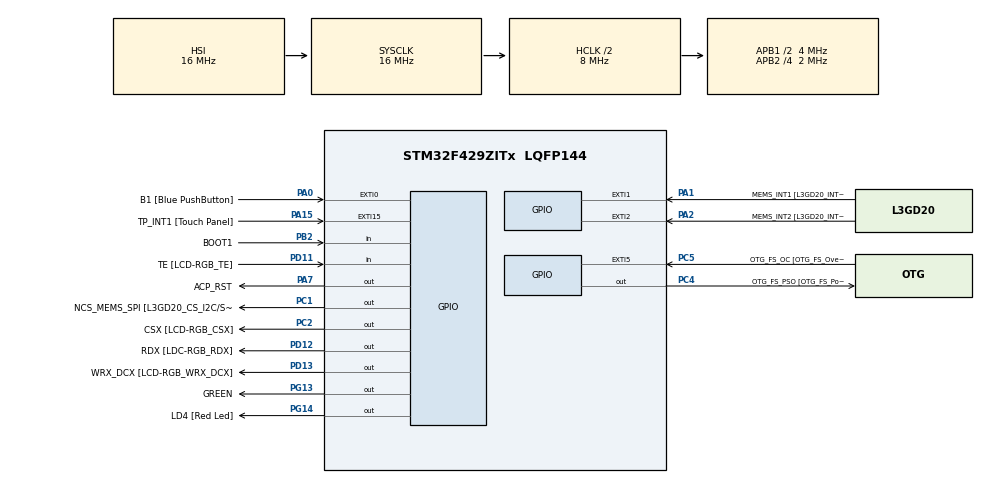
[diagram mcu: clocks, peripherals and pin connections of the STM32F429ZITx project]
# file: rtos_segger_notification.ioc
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Mcu.Family=STM32F4
Mcu.Name=STM32F429ZITx
Mcu.Package=LQFP144
NVIC.PriorityGroup=NVIC_PRIORITYGROUP_0
NVIC.TIM6_DAC_IRQn=true\:0\:0\:false\:false\:true\:false\:true\:true
NVIC.TimeBase=TIM6_DAC_IRQn
NVIC.TimeBaseIP=TIM6
PA0/WKUP.GPIO_Label=B1 [Blue PushButton]
PA0/WKUP.GPIO_ModeDefaultEXTI=GPIO_MODE_EVT_RISING
PA0/WKUP.GPIO_PuPd=GPIO_NOPULL
PA0/WKUP.Signal=GPXTI0
PA1.GPIO_Label=MEMS_INT1 [L3GD20_INT1]
PA1.GPIO_ModeDefaultEXTI=GPIO_MODE_EVT_RISING
PA1.GPIO_PuPd=GPIO_NOPULL
PA1.Signal=GPXTI1
PA10.GPIO_Label=STLINK_TX [STM32F103CBT6_PA2]
PA10.Signal=USART1_RX
PA11.GPIO_Label=R4
PA11.GPIO_Mode=GPIO_MODE_AF_PP
PA11.GPIO_PuPd=GPIO_NOPULL
PA11.GPIO_Speed=GPIO_SPEED_FREQ_LOW
PA11.Signal=LTDC_R4
PA12.GPIO_Label=R5
PA12.GPIO_Mode=GPIO_MODE_AF_PP
PA12.GPIO_PuPd=GPIO_NOPULL
PA12.GPIO_Speed=GPIO_SPEED_FREQ_LOW
PA12.Signal=LTDC_R5
PA13.GPIO_Label=SWDIO
PA13.Signal=SYS_JTMS-SWDIO
PA14.GPIO_Label=SWCLK
PA14.Signal=SYS_JTCK-SWCLK
PA15.GPIO_Label=TP_INT1 [Touch Panel]
PA15.GPIO_ModeDefaultEXTI=GPIO_MODE_EVT_RISING
PA15.GPIO_PuPd=GPIO_NOPULL
PA15.Signal=GPXTI15
PA2.GPIO_Label=MEMS_INT2 [L3GD20_INT2]
PA2.GPIO_ModeDefaultEXTI=GPIO_MODE_EVT_RISING
PA2.GPIO_PuPd=GPIO_NOPULL
PA2.Signal=GPXTI2
PA3.GPIO_Label=B5
PA3.GPIO_Mode=GPIO_MODE_AF_PP
PA3.GPIO_PuPd=GPIO_NOPULL
PA3.GPIO_Speed=GPIO_SPEED_FREQ_LOW
PA3.Signal=LTDC_B5
PA4.GPIO_Label=VSYNC
PA4.GPIO_Mode=GPIO_MODE_AF_PP
PA4.GPIO_PuPd=GPIO_NOPULL
PA4.GPIO_Speed=GPIO_SPEED_FREQ_LOW
PA4.Signal=LTDC_VSYNC
PA6.GPIO_Label=G2
PA6.GPIO_Mode=GPIO_MODE_AF_PP
PA6.GPIO_PuPd=GPIO_NOPULL
PA6.GPIO_Speed=GPIO_SPEED_FREQ_LOW
PA6.Signal=LTDC_G2
PA7.GPIO_Label=ACP_RST
PA7.GPIO_Mode=GPIO_MODE_OUTPUT_PP
PA7.GPIO_PuPd=GPIO_NOPULL
PA7.GPIO_Speed=GPIO_SPEED_FREQ_LOW
PA7.Signal=GPIO_Output
PA8.GPIO_Label=I2C3_SCL [ACP/RF_SCL]
PA8.GPIO_Mode=GPIO_MODE_AF_OD
PA8.GPIO_PuPd=GPIO_NOPULL
PA8.GPIO_Speed=GPIO_SPEED_FREQ_LOW
PA8.Signal=I2C3_SCL
PA9.GPIO_Label=STLINK_RX [STM32F103CBT6_PA3]
PA9.Signal=USART1_TX
PB0.GPIO_Label=R3
PB0.GPIO_Mode=GPIO_MODE_AF_PP
PB0.GPIO_PuPd=GPIO_NOPULL
PB0.GPIO_Speed=GPIO_SPEED_FREQ_LOW
PB0.Signal=LTDC_R3
PB1.GPIO_Label=R6
PB1.GPIO_Mode=GPIO_MODE_AF_PP
PB1.GPIO_PuPd=GPIO_NOPULL
PB1.GPIO_Speed=GPIO_SPEED_FREQ_LOW
PB1.Signal=LTDC_R6
PB10.GPIO_Label=G4
PB10.GPIO_Mode=GPIO_MODE_AF_PP
PB10.GPIO_PuPd=GPIO_NOPULL
PB10.GPIO_Speed=GPIO_SPEED_FREQ_LOW
PB10.Signal=LTDC_G4
PB11.GPIO_Label=G5
PB11.GPIO_Mode=GPIO_MODE_AF_PP
PB11.GPIO_PuPd=GPIO_NOPULL
PB11.GPIO_Speed=GPIO_SPEED_FREQ_LOW
PB11.Signal=LTDC_G5
PB12.GPIO_Label=OTG_HS_ID
PB12.GPIO_Mode=GPIO_MODE_AF_PP
PB12.GPIO_PuPd=GPIO_NOPULL
PB12.GPIO_Speed=GPIO_SPEED_FREQ_LOW
PB12.Signal=USB_OTG_HS_ID
PB13.GPIO_Label=VBUS_HS
PB13.GPIO_Mode=GPIO_MODE_INPUT
PB13.GPIO_PuPd=GPIO_NOPULL
PB13.Signal=USB_OTG_HS_VBUS
PB14.GPIO_Label=OTG_HS_DM
PB14.GPIO_Mode=GPIO_MODE_AF_PP
PB14.GPIO_PuPd=GPIO_NOPULL
PB14.GPIO_Speed=GPIO_SPEED_FREQ_LOW
PB14.Signal=USB_OTG_HS_DM
PB15.GPIO_Label=OTG_HS_DP
PB15.GPIO_Mode=GPIO_MODE_AF_PP
PB15.GPIO_PuPd=GPIO_NOPULL
PB15.GPIO_Speed=GPIO_SPEED_FREQ_LOW
PB15.Signal=USB_OTG_HS_DP
PB2/BOOT1.GPIO_Label=BOOT1
PB2/BOOT1.GPIO_Mode=GPIO_MODE_INPUT
PB2/BOOT1.GPIO_PuPd=GPIO_NOPULL
PB2/BOOT1.Signal=GPIO_Input
PB5.GPIO_Label=SDCKE1
PB5.GPIO_Mode=GPIO_MODE_AF_PP
PB5.GPIO_PuPd=GPIO_NOPULL
PB5.GPIO_Speed=GPIO_SPEED_FREQ_VERY_HIGH
PB5.Signal=FMC_SDCKE1
PB6.GPIO_Label=SDNE1 [SDRAM_CS]
PB6.GPIO_Mode=GPIO_MODE_AF_PP
PB6.GPIO_PuPd=GPIO_NOPULL
PB6.GPIO_Speed=GPIO_SPEED_FREQ_VERY_HIGH
PB6.Signal=FMC_SDNE1
PB8.GPIO_Label=B6
PB8.GPIO_Mode=GPIO_MODE_AF_PP
PB8.GPIO_PuPd=GPIO_NOPULL
PB8.GPIO_Speed=GPIO_SPEED_FREQ_LOW
PB8.Signal=LTDC_B6
PB9.GPIO_Label=B7
PB9.GPIO_Mode=GPIO_MODE_AF_PP
PB9.GPIO_PuPd=GPIO_NOPULL
PB9.GPIO_Speed=GPIO_SPEED_FREQ_LOW
PB9.Signal=LTDC_B7
PC0.GPIO_Label=SDNWE
PC0.GPIO_Mode=GPIO_MODE_AF_PP
PC0.GPIO_PuPd=GPIO_NOPULL
PC0.GPIO_Speed=GPIO_SPEED_FREQ_VERY_HIGH
PC0.Signal=FMC_SDNWE
PC1.GPIO_Label=NCS_MEMS_SPI [L3GD20_CS_I2C/SPI]
PC1.GPIO_Mode=GPIO_MODE_OUTPUT_PP
PC1.GPIO_PuPd=GPIO_NOPULL
PC1.GPIO_Speed=GPIO_SPEED_FREQ_LOW
PC1.Signal=GPIO_Output
PC10.GPIO_Label=R2
PC10.GPIO_Mode=GPIO_MODE_AF_PP
PC10.GPIO_PuPd=GPIO_NOPULL
PC10.GPIO_Speed=GPIO_SPEED_FREQ_LOW
PC10.Signal=LTDC_R2
PC14/OSC32_IN.GPIO_Label=PC14-OSC32_IN
PC14/OSC32_IN.Signal=RCC_OSC32_IN
PC15/OSC32_OUT.GPIO_Label=PC15-OSC32_OUT
PC15/OSC32_OUT.Signal=RCC_OSC32_OUT
PC2.GPIO_Label=CSX [LCD-RGB_CSX]
PC2.GPIO_Mode=GPIO_MODE_OUTPUT_PP
PC2.GPIO_PuPd=GPIO_NOPULL
PC2.GPIO_Speed=GPIO_SPEED_FREQ_LOW
PC2.Signal=GPIO_Output
PC4.GPIO_Label=OTG_FS_PSO [OTG_FS_PowerSwitchOn]
PC4.GPIO_Mode=GPIO_MODE_OUTPUT_PP
PC4.GPIO_PuPd=GPIO_NOPULL
PC4.GPIO_Speed=GPIO_SPEED_FREQ_LOW
PC4.Signal=GPIO_Output
PC5.GPIO_Label=OTG_FS_OC [OTG_FS_OverCurrent]
PC5.GPIO_ModeDefaultEXTI=GPIO_MODE_EVT_RISING
PC5.Signal=GPXTI5
PC6.GPIO_Label=HSYNC
PC6.GPIO_Mode=GPIO_MODE_AF_PP
PC6.GPIO_PuPd=GPIO_NOPULL
PC6.GPIO_Speed=GPIO_SPEED_FREQ_LOW
PC6.Signal=LTDC_HSYNC
PC7.GPIO_Label=G6
PC7.GPIO_Mode=GPIO_MODE_AF_PP
PC7.GPIO_PuPd=GPIO_NOPULL
PC7.GPIO_Speed=GPIO_SPEED_FREQ_LOW
PC7.Signal=LTDC_G6
PC9.GPIO_Label=I2C3_SDA [ACP/RF_SDA]
PC9.GPIO_Mode=GPIO_MODE_AF_OD
PC9.GPIO_PuPd=GPIO_NOPULL
PC9.GPIO_Speed=GPIO_SPEED_FREQ_LOW
PC9.Signal=I2C3_SDA
PD0.GPIO_Label=D2
PD0.GPIO_Mode=GPIO_MODE_AF_PP
PD0.GPIO_PuPd=GPIO_NOPULL
PD0.GPIO_Speed=GPIO_SPEED_FREQ_VERY_HIGH
PD0.Signal=FMC_D2_DA2
PD1.GPIO_Label=D3
PD1.GPIO_Mode=GPIO_MODE_AF_PP
PD1.GPIO_PuPd=GPIO_NOPULL
PD1.GPIO_Speed=GPIO_SPEED_FREQ_VERY_HIGH
PD1.Signal=FMC_D3_DA3
PD10.GPIO_Label=D15
PD10.GPIO_Mode=GPIO_MODE_AF_PP
PD10.GPIO_PuPd=GPIO_NOPULL
PD10.GPIO_Speed=GPIO_SPEED_FREQ_VERY_HIGH
PD10.Signal=FMC_D15_DA15
PD11.GPIO_Label=TE [LCD-RGB_TE]
PD11.GPIO_Mode=GPIO_MODE_INPUT
PD11.GPIO_PuPd=GPIO_NOPULL
PD11.Signal=GPIO_Input
PD12.GPIO_Label=RDX [LDC-RGB_RDX]
PD12.GPIO_Mode=GPIO_MODE_OUTPUT_PP
PD12.GPIO_PuPd=GPIO_NOPULL
PD12.GPIO_Speed=GPIO_SPEED_FREQ_LOW
PD12.Signal=GPIO_Output
PD13.GPIO_Label=WRX_DCX [LCD-RGB_WRX_DCX]
PD13.GPIO_Mode=GPIO_MODE_OUTPUT_PP
PD13.GPIO_PuPd=GPIO_NOPULL
PD13.GPIO_Speed=GPIO_SPEED_FREQ_LOW
PD13.Signal=GPIO_Output
PD14.GPIO_Label=D0
PD14.GPIO_Mode=GPIO_MODE_AF_PP
PD14.GPIO_PuPd=GPIO_NOPULL
PD14.GPIO_Speed=GPIO_SPEED_FREQ_VERY_HIGH
PD14.Signal=FMC_D0_DA0
PD15.GPIO_Label=D1
PD15.GPIO_Mode=GPIO_MODE_AF_PP
PD15.GPIO_PuPd=GPIO_NOPULL
PD15.GPIO_Speed=GPIO_SPEED_FREQ_VERY_HIGH
PD15.Signal=FMC_D1_DA1
PD3.GPIO_Label=G7
PD3.GPIO_Mode=GPIO_MODE_AF_PP
PD3.GPIO_PuPd=GPIO_NOPULL
PD3.GPIO_Speed=GPIO_SPEED_FREQ_LOW
PD3.Signal=LTDC_G7
PD6.GPIO_Label=B2
PD6.GPIO_Mode=GPIO_MODE_AF_PP
PD6.GPIO_PuPd=GPIO_NOPULL
PD6.GPIO_Speed=GPIO_SPEED_FREQ_LOW
PD6.Signal=LTDC_B2
PD8.GPIO_Label=D13
PD8.GPIO_Mode=GPIO_MODE_AF_PP
PD8.GPIO_PuPd=GPIO_NOPULL
PD8.GPIO_Speed=GPIO_SPEED_FREQ_VERY_HIGH
PD8.Signal=FMC_D13_DA13
PD9.GPIO_Label=D14
PD9.GPIO_Mode=GPIO_MODE_AF_PP
PD9.GPIO_PuPd=GPIO_NOPULL
PD9.GPIO_Speed=GPIO_SPEED_FREQ_VERY_HIGH
PD9.Signal=FMC_D14_DA14
PE0.GPIO_Label=NBL0 [SDRAM_LDQM]
PE0.GPIO_Mode=GPIO_MODE_AF_PP
PE0.GPIO_PuPd=GPIO_NOPULL
PE0.GPIO_Speed=GPIO_SPEED_FREQ_VERY_HIGH
PE0.Signal=FMC_NBL0
PE1.GPIO_Label=NBL1 [SDRAM_UDQM]
PE1.GPIO_Mode=GPIO_MODE_AF_PP
PE1.GPIO_PuPd=GPIO_NOPULL
PE1.GPIO_Speed=GPIO_SPEED_FREQ_VERY_HIGH
PE1.Signal=FMC_NBL1
PE10.GPIO_Label=D7
PE10.GPIO_Mode=GPIO_MODE_AF_PP
PE10.GPIO_PuPd=GPIO_NOPULL
PE10.GPIO_Speed=GPIO_SPEED_FREQ_VERY_HIGH
PE10.Signal=FMC_D7_DA7
PE11.GPIO_Label=D8
PE11.GPIO_Mode=GPIO_MODE_AF_PP
PE11.GPIO_PuPd=GPIO_NOPULL
PE11.GPIO_Speed=GPIO_SPEED_FREQ_VERY_HIGH
PE11.Signal=FMC_D8_DA8
PE12.GPIO_Label=D9
PE12.GPIO_Mode=GPIO_MODE_AF_PP
PE12.GPIO_PuPd=GPIO_NOPULL
PE12.GPIO_Speed=GPIO_SPEED_FREQ_VERY_HIGH
PE12.Signal=FMC_D9_DA9
PE13.GPIO_Label=D10
PE13.GPIO_Mode=GPIO_MODE_AF_PP
PE13.GPIO_PuPd=GPIO_NOPULL
PE13.GPIO_Speed=GPIO_SPEED_FREQ_VERY_HIGH
PE13.Signal=FMC_D10_DA10
PE14.GPIO_Label=D11
PE14.GPIO_Mode=GPIO_MODE_AF_PP
PE14.GPIO_PuPd=GPIO_NOPULL
PE14.GPIO_Speed=GPIO_SPEED_FREQ_VERY_HIGH
PE14.Signal=FMC_D11_DA11
PE15.GPIO_Label=D12
PE15.GPIO_Mode=GPIO_MODE_AF_PP
PE15.GPIO_PuPd=GPIO_NOPULL
PE15.GPIO_Speed=GPIO_SPEED_FREQ_VERY_HIGH
PE15.Signal=FMC_D12_DA12
PE7.GPIO_Label=D4
PE7.GPIO_Mode=GPIO_MODE_AF_PP
PE7.GPIO_PuPd=GPIO_NOPULL
PE7.GPIO_Speed=GPIO_SPEED_FREQ_VERY_HIGH
PE7.Signal=FMC_D4_DA4
PE8.GPIO_Label=D5
PE8.GPIO_Mode=GPIO_MODE_AF_PP
PE8.GPIO_PuPd=GPIO_NOPULL
PE8.GPIO_Speed=GPIO_SPEED_FREQ_VERY_HIGH
PE8.Signal=FMC_D5_DA5
PE9.GPIO_Label=D6
PE9.GPIO_Mode=GPIO_MODE_AF_PP
PE9.GPIO_PuPd=GPIO_NOPULL
PE9.GPIO_Speed=GPIO_SPEED_FREQ_VERY_HIGH
PE9.Signal=FMC_D6_DA6
PF0.GPIO_Label=A0
PF0.GPIO_Mode=GPIO_MODE_AF_PP
PF0.GPIO_PuPd=GPIO_NOPULL
PF0.GPIO_Speed=GPIO_SPEED_FREQ_VERY_HIGH
PF0.Signal=FMC_A0
PF1.GPIO_Label=A1
PF1.GPIO_Mode=GPIO_MODE_AF_PP
PF1.GPIO_PuPd=GPIO_NOPULL
PF1.GPIO_Speed=GPIO_SPEED_FREQ_VERY_HIGH
PF1.Signal=FMC_A1
PF10.GPIO_Label=ENABLE [LCD-RGB_ENABLE]
PF10.GPIO_Mode=GPIO_MODE_AF_PP
PF10.GPIO_PuPd=GPIO_NOPULL
PF10.GPIO_Speed=GPIO_SPEED_FREQ_LOW
PF10.Signal=LTDC_DE
PF11.GPIO_Label=SDNRAS
PF11.GPIO_Mode=GPIO_MODE_AF_PP
PF11.GPIO_PuPd=GPIO_NOPULL
PF11.GPIO_Speed=GPIO_SPEED_FREQ_VERY_HIGH
PF11.Signal=FMC_SDNRAS
PF12.GPIO_Label=A6
PF12.GPIO_Mode=GPIO_MODE_AF_PP
PF12.GPIO_PuPd=GPIO_NOPULL
PF12.GPIO_Speed=GPIO_SPEED_FREQ_VERY_HIGH
PF12.Signal=FMC_A6
PF13.GPIO_Label=A7
PF13.GPIO_Mode=GPIO_MODE_AF_PP
PF13.GPIO_PuPd=GPIO_NOPULL
PF13.GPIO_Speed=GPIO_SPEED_FREQ_VERY_HIGH
PF13.Signal=FMC_A7
PF14.GPIO_Label=A8
PF14.GPIO_Mode=GPIO_MODE_AF_PP
PF14.GPIO_PuPd=GPIO_NOPULL
PF14.GPIO_Speed=GPIO_SPEED_FREQ_VERY_HIGH
PF14.Signal=FMC_A8
PF15.GPIO_Label=A9
PF15.GPIO_Mode=GPIO_MODE_AF_PP
PF15.GPIO_PuPd=GPIO_NOPULL
PF15.GPIO_Speed=GPIO_SPEED_FREQ_VERY_HIGH
PF15.Signal=FMC_A9
PF2.GPIO_Label=A2
PF2.GPIO_Mode=GPIO_MODE_AF_PP
PF2.GPIO_PuPd=GPIO_NOPULL
PF2.GPIO_Speed=GPIO_SPEED_FREQ_VERY_HIGH
PF2.Signal=FMC_A2
PF3.GPIO_Label=A3
PF3.GPIO_Mode=GPIO_MODE_AF_PP
PF3.GPIO_PuPd=GPIO_NOPULL
PF3.GPIO_Speed=GPIO_SPEED_FREQ_VERY_HIGH
PF3.Signal=FMC_A3
PF4.GPIO_Label=A4
PF4.GPIO_Mode=GPIO_MODE_AF_PP
PF4.GPIO_PuPd=GPIO_NOPULL
PF4.GPIO_Speed=GPIO_SPEED_FREQ_VERY_HIGH
PF4.Signal=FMC_A4
PF5.GPIO_Label=A5
PF5.GPIO_Mode=GPIO_MODE_AF_PP
PF5.GPIO_PuPd=GPIO_NOPULL
PF5.GPIO_Speed=GPIO_SPEED_FREQ_VERY_HIGH
PF5.Signal=FMC_A5
PF7.GPIO_Label=SPI5_SCK [L3GD20_SCL/SPC]
PF7.GPIO_Mode=GPIO_MODE_AF_PP
PF7.GPIO_PuPd=GPIO_NOPULL
PF7.GPIO_Speed=GPIO_SPEED_FREQ_LOW
PF7.Signal=SPI5_SCK
PF8.GPIO_Label=SPI5_MISO [L3GD20_SDO]
PF8.GPIO_Mode=GPIO_MODE_AF_PP
PF8.GPIO_PuPd=GPIO_NOPULL
PF8.GPIO_Speed=GPIO_SPEED_FREQ_LOW
PF8.Signal=SPI5_MISO
PF9.GPIO_Label=SPI5_MOSI [L3GD20_SDA/SDI/SDO]
PF9.GPIO_Mode=GPIO_MODE_AF_PP
PF9.GPIO_PuPd=GPIO_NOPULL
PF9.GPIO_Speed=GPIO_SPEED_FREQ_LOW
PF9.Signal=SPI5_MOSI
PG0.GPIO_Label=A10
PG0.GPIO_Mode=GPIO_MODE_AF_PP
PG0.GPIO_PuPd=GPIO_NOPULL
PG0.GPIO_Speed=GPIO_SPEED_FREQ_VERY_HIGH
PG0.Signal=FMC_A10
PG1.GPIO_Label=A11
PG1.GPIO_Mode=GPIO_MODE_AF_PP
PG1.GPIO_PuPd=GPIO_NOPULL
PG1.GPIO_Speed=GPIO_SPEED_FREQ_VERY_HIGH
PG1.Signal=FMC_A11
PG10.GPIO_Label=G3
PG10.GPIO_Mode=GPIO_MODE_AF_PP
PG10.GPIO_PuPd=GPIO_NOPULL
PG10.GPIO_Speed=GPIO_SPEED_FREQ_LOW
PG10.Signal=LTDC_G3
PG11.GPIO_Label=B3
PG11.GPIO_Mode=GPIO_MODE_AF_PP
PG11.GPIO_PuPd=GPIO_NOPULL
PG11.GPIO_Speed=GPIO_SPEED_FREQ_LOW
PG11.Signal=LTDC_B3
PG12.GPIO_Label=B4
PG12.GPIO_Mode=GPIO_MODE_AF_PP
PG12.GPIO_PuPd=GPIO_NOPULL
PG12.GPIO_Speed=GPIO_SPEED_FREQ_LOW
PG12.Signal=LTDC_B4
PG13.GPIO_Label=GREEN
PG13.Signal=GPIO_Output
PG14.GPIO_Label=LD4 [Red Led]
PG14.GPIO_Mode=GPIO_MODE_OUTPUT_PP
PG14.GPIO_PuPd=GPIO_NOPULL
PG14.GPIO_Speed=GPIO_SPEED_FREQ_LOW
PG14.Signal=GPIO_Output
PG15.GPIO_Label=SDNCAS
PG15.GPIO_Mode=GPIO_MODE_AF_PP
PG15.GPIO_PuPd=GPIO_NOPULL
PG15.GPIO_Speed=GPIO_SPEED_FREQ_VERY_HIGH
PG15.Signal=FMC_SDNCAS
PG4.GPIO_Label=BA0
PG4.GPIO_Mode=GPIO_MODE_AF_PP
PG4.GPIO_PuPd=GPIO_NOPULL
PG4.GPIO_Speed=GPIO_SPEED_FREQ_VERY_HIGH
PG4.Signal=FMC_A14_BA0
PG5.GPIO_Label=BA1
PG5.GPIO_Mode=GPIO_MODE_AF_PP
PG5.GPIO_PuPd=GPIO_NOPULL
PG5.GPIO_Speed=GPIO_SPEED_FREQ_VERY_HIGH
PG5.Signal=FMC_A15_BA1
PG6.GPIO_Label=R7
PG6.GPIO_Mode=GPIO_MODE_AF_PP
PG6.GPIO_PuPd=GPIO_NOPULL
PG6.GPIO_Speed=GPIO_SPEED_FREQ_LOW
PG6.Signal=LTDC_R7
PG7.GPIO_Label=DOTCLK [LCT-RGB_DOTCLK]
PG7.GPIO_Mode=GPIO_MODE_AF_PP
PG7.GPIO_PuPd=GPIO_NOPULL
PG7.GPIO_Speed=GPIO_SPEED_FREQ_LOW
PG7.Signal=LTDC_CLK
PG8.GPIO_Label=SDCLK
PG8.GPIO_Mode=GPIO_MODE_AF_PP
PG8.GPIO_PuPd=GPIO_NOPULL
PG8.GPIO_Speed=GPIO_SPEED_FREQ_VERY_HIGH
PG8.Signal=FMC_SDCLK
PH0/OSC_IN.GPIO_Label=PH0-OSC_IN
PH0/OSC_IN.Signal=RCC_OSC_IN
PH1/OSC_OUT.GPIO_Label=PH1-OSC_OUT
PH1/OSC_OUT.Signal=RCC_OSC_OUT
ProjectManager.HeapSize=0x200
ProjectManager.StackSize=0x400
ProjectManager.TargetToolchain=STM32CubeIDE
RCC.48MHZClocksFreq_Value=18285714.285714287
RCC.AHBCLKDivider=RCC_SYSCLK_DIV2
RCC.AHBFreq_Value=8000000
RCC.APB1CLKDivider=RCC_HCLK_DIV2
RCC.APB1Freq_Value=4000000
RCC.APB1TimFreq_Value=8000000
RCC.APB2CLKDivider=RCC_HCLK_DIV4
RCC.APB2Freq_Value=2000000
RCC.APB2TimFreq_Value=4000000
RCC.CortexFreq_Value=8000000
RCC.HCLKFreq_Value=8000000
RCC.HSE_VALUE=8000000
RCC.HSI_VALUE=16000000
RCC.LSE_VALUE=32768
RCC.PLLM=8
RCC.PLLN=64
RCC.PLLQ=7
RCC.SYSCLKFreq_VALUE=16000000
RCC.VCOOutputFreq_Value=128000000
SH.FMC_A0.0=FMC_A0
SH.FMC_A1.0=FMC_A1
SH.FMC_A10.0=FMC_A10
SH.FMC_A11.0=FMC_A11
SH.FMC_A14_BA0.0=FMC_BA0
SH.FMC_A15_BA1.0=FMC_BA1
SH.FMC_A2.0=FMC_A2
SH.FMC_A3.0=FMC_A3
SH.FMC_A4.0=FMC_A4
SH.FMC_A5.0=FMC_A5
SH.FMC_A6.0=FMC_A6
SH.FMC_A7.0=FMC_A7
SH.FMC_A8.0=FMC_A8
SH.FMC_A9.0=FMC_A9
SH.FMC_D0_DA0.0=FMC_D0
SH.FMC_D10_DA10.0=FMC_D10
SH.FMC_D11_DA11.0=FMC_D11
SH.FMC_D12_DA12.0=FMC_D12
SH.FMC_D13_DA13.0=FMC_D13
SH.FMC_D14_DA14.0=FMC_D14
SH.FMC_D15_DA15.0=FMC_D15
SH.FMC_D1_DA1.0=FMC_D1
SH.FMC_D2_DA2.0=FMC_D2
SH.FMC_D3_DA3.0=FMC_D3
SH.FMC_D4_DA4.0=FMC_D4
SH.FMC_D5_DA5.0=FMC_D5
SH.FMC_D6_DA6.0=FMC_D6
SH.FMC_D7_DA7.0=FMC_D7
SH.FMC_D8_DA8.0=FMC_D8
SH.FMC_D9_DA9.0=FMC_D9
SH.FMC_NBL0.0=FMC_NBL0
SH.FMC_NBL1.0=FMC_NBL1
SH.FMC_SDCLK.0=FMC_SDCLK
SH.FMC_SDNCAS.0=FMC_SDNCAS
SH.FMC_SDNRAS.0=FMC_SDNRAS
SH.FMC_SDNWE.0=FMC_SDNWE
VP_SYS_VS_tim6.Mode=TIM6
board=STM32F429I-DISC1

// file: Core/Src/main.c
/* USER CODE BEGIN Header */
/**
  ******************************************************************************
  * @file           : main.c
  * @brief          : Main program body
  ******************************************************************************
  * @attention
  *
  * Copyright (c) 2025 STMicroelectronics.
  * All rights reserved.
  *
  * This software is licensed under terms that can be found in the LICENSE file
  * in the root directory of this software component.
  * If no LICENSE file comes with this software, it is provided AS-IS.
  *
  ******************************************************************************
  */
/* USER CODE END Header */
#include "main.h"

/* USER CODE BEGIN Includes */
#include "FreeRTOS.h"
#include "FreeRTOSConfig.h"
#include "task.h"
#include "SEGGER_SYSVIEW.h"
/* USER CODE END Includes */

void SystemClock_Config(void);
static void MX_GPIO_Init(void);

/* USER CODE BEGIN 0 */
void task1_fun(void* pt);
void task2_fun(void* pt);
void initPA0_as_input(void);

TaskHandle_t tas1Handle;
TaskHandle_t tas2Handle;
/* USER CODE END 0 */

int main(void)
{

  /* MCU Configuration--------------------------------------------------------*/

  /* Reset of all peripherals, Initializes the Flash interface and the Systick. */
  HAL_Init();

  /* Configure the system clock */
  SystemClock_Config();

  /* Initialize all configured peripherals */
  MX_GPIO_Init();
  /* USER CODE BEGIN 2 */
  HAL_GPIO_WritePin(GPIOG, GREEN_Pin, GPIO_PIN_SET);

  NVIC_SetPriorityGrouping( 0 );

  initPA0_as_input();

  SEGGER_SYSVIEW_Conf();
  vSetVaru1MaxPRIGROUPValue();
  SEGGER_SYSVIEW_Start();

  xTaskCreate(task1_fun,"task1",configMINIMAL_STACK_SIZE,(void*)0,2,(TaskHandle_t * const)&tas1Handle);
  xTaskCreate(task2_fun,"task2",configMINIMAL_STACK_SIZE,(void*)0,2,(TaskHandle_t * const)&tas2Handle);

  vTaskStartScheduler();
  /* USER CODE END 2 */

  /* Infinite loop */
  while (1)
  {

  }
}

void SystemClock_Config(void)
{
  RCC_OscInitTypeDef RCC_OscInitStruct = {0};
  RCC_ClkInitTypeDef RCC_ClkInitStruct = {0};

  /** Configure the main internal regulator output voltage
  */
  __HAL_RCC_PWR_CLK_ENABLE();
  __HAL_PWR_VOLTAGESCALING_CONFIG(PWR_REGULATOR_VOLTAGE_SCALE3);

  /** Initializes the RCC Oscillators according to the specified parameters
  * in the RCC_OscInitTypeDef structure.
  */
  RCC_OscInitStruct.OscillatorType = RCC_OSCILLATORTYPE_HSI;
  RCC_OscInitStruct.HSIState = RCC_HSI_ON;
  RCC_OscInitStruct.HSICalibrationValue = RCC_HSICALIBRATION_DEFAULT;
  RCC_OscInitStruct.PLL.PLLState = RCC_PLL_NONE;
  if (HAL_RCC_OscConfig(&RCC_OscInitStruct) != HAL_OK)
  {
    Error_Handler();
  }

  /** Initializes the CPU, AHB and APB buses clocks
  */
  RCC_ClkInitStruct.ClockType = RCC_CLOCKTYPE_HCLK|RCC_CLOCKTYPE_SYSCLK
                              |RCC_CLOCKTYPE_PCLK1|RCC_CLOCKTYPE_PCLK2;
  RCC_ClkInitStruct.SYSCLKSource = RCC_SYSCLKSOURCE_HSI;
  RCC_ClkInitStruct.AHBCLKDivider = RCC_SYSCLK_DIV2;
  RCC_ClkInitStruct.APB1CLKDivider = RCC_HCLK_DIV2;
  RCC_ClkInitStruct.APB2CLKDivider = RCC_HCLK_DIV4;

  if (HAL_RCC_ClockConfig(&RCC_ClkInitStruct, FLASH_LATENCY_0) != HAL_OK)
  {
    Error_Handler();
  }
}

static void MX_GPIO_Init(void)
{
  GPIO_InitTypeDef GPIO_InitStruct = {0};

  /* GPIO Ports Clock Enable */
  __HAL_RCC_GPIOC_CLK_ENABLE();
  __HAL_RCC_GPIOF_CLK_ENABLE();
  __HAL_RCC_GPIOH_CLK_ENABLE();
  __HAL_RCC_GPIOA_CLK_ENABLE();
  __HAL_RCC_GPIOB_CLK_ENABLE();
  __HAL_RCC_GPIOG_CLK_ENABLE();
  __HAL_RCC_GPIOE_CLK_ENABLE();
  __HAL_RCC_GPIOD_CLK_ENABLE();

  /*Configure GPIO pin Output Level */
  HAL_GPIO_WritePin(GPIOC, NCS_MEMS_SPI_Pin|CSX_Pin|OTG_FS_PSO_Pin, GPIO_PIN_RESET);

  /*Configure GPIO pin Output Level */
  HAL_GPIO_WritePin(ACP_RST_GPIO_Port, ACP_RST_Pin, GPIO_PIN_RESET);

  /*Configure GPIO pin Output Level */
  HAL_GPIO_WritePin(GPIOD, RDX_Pin|WRX_DCX_Pin, GPIO_PIN_RESET);

  /*Configure GPIO pin Output Level */
  HAL_GPIO_WritePin(GPIOG, GREEN_Pin|LD4_Pin, GPIO_PIN_RESET);

  /*Configure GPIO pins : A0_Pin A1_Pin A2_Pin A3_Pin
                           A4_Pin A5_Pin SDNRAS_Pin A6_Pin
                           A7_Pin A8_Pin A9_Pin */
  GPIO_InitStruct.Pin = A0_Pin|A1_Pin|A2_Pin|A3_Pin
                          |A4_Pin|A5_Pin|SDNRAS_Pin|A6_Pin
                          |A7_Pin|A8_Pin|A9_Pin;
  GPIO_InitStruct.Mode = GPIO_MODE_AF_PP;
  GPIO_InitStruct.Pull = GPIO_NOPULL;
  GPIO_InitStruct.Speed = GPIO_SPEED_FREQ_VERY_HIGH;
  GPIO_InitStruct.Alternate = GPIO_AF12_FMC;
  HAL_GPIO_Init(GPIOF, &GPIO_InitStruct);

  /*Configure GPIO pins : SPI5_SCK_Pin SPI5_MISO_Pin SPI5_MOSI_Pin */
  GPIO_InitStruct.Pin = SPI5_SCK_Pin|SPI5_MISO_Pin|SPI5_MOSI_Pin;
  GPIO_InitStruct.Mode = GPIO_MODE_AF_PP;
  GPIO_InitStruct.Pull = GPIO_NOPULL;
  GPIO_InitStruct.Speed = GPIO_SPEED_FREQ_LOW;
  GPIO_InitStruct.Alternate = GPIO_AF5_SPI5;
  HAL_GPIO_Init(GPIOF, &GPIO_InitStruct);

  /*Configure GPIO pin : ENABLE_Pin */
  GPIO_InitStruct.Pin = ENABLE_Pin;
  GPIO_InitStruct.Mode = GPIO_MODE_AF_PP;
  GPIO_InitStruct.Pull = GPIO_NOPULL;
  GPIO_InitStruct.Speed = GPIO_SPEED_FREQ_LOW;
  GPIO_InitStruct.Alternate = GPIO_AF14_LTDC;
  HAL_GPIO_Init(ENABLE_GPIO_Port, &GPIO_InitStruct);

  /*Configure GPIO pin : SDNWE_Pin */
  GPIO_InitStruct.Pin = SDNWE_Pin;
  GPIO_InitStruct.Mode = GPIO_MODE_AF_PP;
  GPIO_InitStruct.Pull = GPIO_NOPULL;
  GPIO_InitStruct.Speed = GPIO_SPEED_FREQ_VERY_HIGH;
  GPIO_InitStruct.Alternate = GPIO_AF12_FMC;
  HAL_GPIO_Init(SDNWE_GPIO_Port, &GPIO_InitStruct);

  /*Configure GPIO pins : NCS_MEMS_SPI_Pin CSX_Pin OTG_FS_PSO_Pin */
  GPIO_InitStruct.Pin = NCS_MEMS_SPI_Pin|CSX_Pin|OTG_FS_PSO_Pin;
  GPIO_InitStruct.Mode = GPIO_MODE_OUTPUT_PP;
  GPIO_InitStruct.Pull = GPIO_NOPULL;
  GPIO_InitStruct.Speed = GPIO_SPEED_FREQ_LOW;
  HAL_GPIO_Init(GPIOC, &GPIO_InitStruct);

  /*Configure GPIO pins : B1_Pin MEMS_INT1_Pin MEMS_INT2_Pin TP_INT1_Pin */
  GPIO_InitStruct.Pin = B1_Pin|MEMS_INT1_Pin|MEMS_INT2_Pin|TP_INT1_Pin;
  GPIO_InitStruct.Mode = GPIO_MODE_EVT_RISING;
  GPIO_InitStruct.Pull = GPIO_NOPULL;
  HAL_GPIO_Init(GPIOA, &GPIO_InitStruct);

  /*Configure GPIO pins : B5_Pin VSYNC_Pin G2_Pin R4_Pin
                           R5_Pin */
  GPIO_InitStruct.Pin = B5_Pin|VSYNC_Pin|G2_Pin|R4_Pin
                          |R5_Pin;
  GPIO_InitStruct.Mode = GPIO_MODE_AF_PP;
  GPIO_InitStruct.Pull = GPIO_NOPULL;
  GPIO_InitStruct.Speed = GPIO_SPEED_FREQ_LOW;
  GPIO_InitStruct.Alternate = GPIO_AF14_LTDC;
  HAL_GPIO_Init(GPIOA, &GPIO_InitStruct);

  /*Configure GPIO pin : ACP_RST_Pin */
  GPIO_InitStruct.Pin = ACP_RST_Pin;
  GPIO_InitStruct.Mode = GPIO_MODE_OUTPUT_PP;
  GPIO_InitStruct.Pull = GPIO_NOPULL;
  GPIO_InitStruct.Speed = GPIO_SPEED_FREQ_LOW;
  HAL_GPIO_Init(ACP_RST_GPIO_Port, &GPIO_InitStruct);

  /*Configure GPIO pin : OTG_FS_OC_Pin */
  GPIO_InitStruct.Pin = OTG_FS_OC_Pin;
  GPIO_InitStruct.Mode = GPIO_MODE_EVT_RISING;
  GPIO_InitStruct.Pull = GPIO_NOPULL;
  HAL_GPIO_Init(OTG_FS_OC_GPIO_Port, &GPIO_InitStruct);

  /*Configure GPIO pins : R3_Pin R6_Pin */
  GPIO_InitStruct.Pin = R3_Pin|R6_Pin;
  GPIO_InitStruct.Mode = GPIO_MODE_AF_PP;
  GPIO_InitStruct.Pull = GPIO_NOPULL;
  GPIO_InitStruct.Speed = GPIO_SPEED_FREQ_LOW;
  GPIO_InitStruct.Alternate = GPIO_AF9_LTDC;
  HAL_GPIO_Init(GPIOB, &GPIO_InitStruct);

  /*Configure GPIO pin : BOOT1_Pin */
  GPIO_InitStruct.Pin = BOOT1_Pin;
  GPIO_InitStruct.Mode = GPIO_MODE_INPUT;
  GPIO_InitStruct.Pull = GPIO_NOPULL;
  HAL_GPIO_Init(BOOT1_GPIO_Port, &GPIO_InitStruct);

  /*Configure GPIO pins : A10_Pin A11_Pin BA0_Pin BA1_Pin
                           SDCLK_Pin SDNCAS_Pin */
  GPIO_InitStruct.Pin = A10_Pin|A11_Pin|BA0_Pin|BA1_Pin
                          |SDCLK_Pin|SDNCAS_Pin;
  GPIO_InitStruct.Mode = GPIO_MODE_AF_PP;
  GPIO_InitStruct.Pull = GPIO_NOPULL;
  GPIO_InitStruct.Speed = GPIO_SPEED_FREQ_VERY_HIGH;
  GPIO_InitStruct.Alternate = GPIO_AF12_FMC;
  HAL_GPIO_Init(GPIOG, &GPIO_InitStruct);

  /*Configure GPIO pins : D4_Pin D5_Pin D6_Pin D7_Pin
                           D8_Pin D9_Pin D10_Pin D11_Pin
                           D12_Pin NBL0_Pin NBL1_Pin */
  GPIO_InitStruct.Pin = D4_Pin|D5_Pin|D6_Pin|D7_Pin
                          |D8_Pin|D9_Pin|D10_Pin|D11_Pin
                          |D12_Pin|NBL0_Pin|NBL1_Pin;
  GPIO_InitStruct.Mode = GPIO_MODE_AF_PP;
  GPIO_InitStruct.Pull = GPIO_NOPULL;
  GPIO_InitStruct.Speed = GPIO_SPEED_FREQ_VERY_HIGH;
  GPIO_InitStruct.Alternate = GPIO_AF12_FMC;
  HAL_GPIO_Init(GPIOE, &GPIO_InitStruct);

  /*Configure GPIO pins : G4_Pin G5_Pin B6_Pin B7_Pin */
  GPIO_InitStruct.Pin = G4_Pin|G5_Pin|B6_Pin|B7_Pin;
  GPIO_InitStruct.Mode = GPIO_MODE_AF_PP;
  GPIO_InitStruct.Pull = GPIO_NOPULL;
  GPIO_InitStruct.Speed = GPIO_SPEED_FREQ_LOW;
  GPIO_InitStruct.Alternate = GPIO_AF14_LTDC;
  HAL_GPIO_Init(GPIOB, &GPIO_InitStruct);

  /*Configure GPIO pins : OTG_HS_ID_Pin OTG_HS_DM_Pin OTG_HS_DP_Pin */
  GPIO_InitStruct.Pin = OTG_HS_ID_Pin|OTG_HS_DM_Pin|OTG_HS_DP_Pin;
  GPIO_InitStruct.Mode = GPIO_MODE_AF_PP;
  GPIO_InitStruct.Pull = GPIO_NOPULL;
  GPIO_InitStruct.Speed = GPIO_SPEED_FREQ_LOW;
  GPIO_InitStruct.Alternate = GPIO_AF12_OTG_HS_FS;
  HAL_GPIO_Init(GPIOB, &GPIO_InitStruct);

  /*Configure GPIO pin : VBUS_HS_Pin */
  GPIO_InitStruct.Pin = VBUS_HS_Pin;
  GPIO_InitStruct.Mode = GPIO_MODE_INPUT;
  GPIO_InitStruct.Pull = GPIO_NOPULL;
  HAL_GPIO_Init(VBUS_HS_GPIO_Port, &GPIO_InitStruct);

  /*Configure GPIO pins : D13_Pin D14_Pin D15_Pin D0_Pin
                           D1_Pin D2_Pin D3_Pin */
  GPIO_InitStruct.Pin = D13_Pin|D14_Pin|D15_Pin|D0_Pin
                          |D1_Pin|D2_Pin|D3_Pin;
  GPIO_InitStruct.Mode = GPIO_MODE_AF_PP;
  GPIO_InitStruct.Pull = GPIO_NOPULL;
  GPIO_InitStruct.Speed = GPIO_SPEED_FREQ_VERY_HIGH;
  GPIO_InitStruct.Alternate = GPIO_AF12_FMC;
  HAL_GPIO_Init(GPIOD, &GPIO_InitStruct);

  /*Configure GPIO pin : TE_Pin */
  GPIO_InitStruct.Pin = TE_Pin;
  GPIO_InitStruct.Mode = GPIO_MODE_INPUT;
  GPIO_InitStruct.Pull = GPIO_NOPULL;
  HAL_GPIO_Init(TE_GPIO_Port, &GPIO_InitStruct);

  /*Configure GPIO pins : RDX_Pin WRX_DCX_Pin */
  GPIO_InitStruct.Pin = RDX_Pin|WRX_DCX_Pin;
  GPIO_InitStruct.Mode = GPIO_MODE_OUTPUT_PP;
  GPIO_InitStruct.Pull = GPIO_NOPULL;
  GPIO_InitStruct.Speed = GPIO_SPEED_FREQ_LOW;
  HAL_GPIO_Init(GPIOD, &GPIO_InitStruct);

  /*Configure GPIO pins : R7_Pin DOTCLK_Pin B3_Pin */
  GPIO_InitStruct.Pin = R7_Pin|DOTCLK_Pin|B3_Pin;
  GPIO_InitStruct.Mode = GPIO_MODE_AF_PP;
  GPIO_InitStruct.Pull = GPIO_NOPULL;
  GPIO_InitStruct.Speed = GPIO_SPEED_FREQ_LOW;
  GPIO_InitStruct.Alternate = GPIO_AF14_LTDC;
  HAL_GPIO_Init(GPIOG, &GPIO_InitStruct);

  /*Configure GPIO pins : HSYNC_Pin G6_Pin R2_Pin */
  GPIO_InitStruct.Pin = HSYNC_Pin|G6_Pin|R2_Pin;
  GPIO_InitStruct.Mode = GPIO_MODE_AF_PP;
  GPIO_InitStruct.Pull = GPIO_NOPULL;
  GPIO_InitStruct.Speed = GPIO_SPEED_FREQ_LOW;
  GPIO_InitStruct.Alternate = GPIO_AF14_LTDC;
  HAL_GPIO_Init(GPIOC, &GPIO_InitStruct);

  /*Configure GPIO pin : I2C3_SDA_Pin */
  GPIO_InitStruct.Pin = I2C3_SDA_Pin;
  GPIO_InitStruct.Mode = GPIO_MODE_AF_OD;
  GPIO_InitStruct.Pull = GPIO_NOPULL;
  GPIO_InitStruct.Speed = GPIO_SPEED_FREQ_LOW;
  GPIO_InitStruct.Alternate = GPIO_AF4_I2C3;
  HAL_GPIO_Init(I2C3_SDA_GPIO_Port, &GPIO_InitStruct);

  /*Configure GPIO pin : I2C3_SCL_Pin */
  GPIO_InitStruct.Pin = I2C3_SCL_Pin;
  GPIO_InitStruct.Mode = GPIO_MODE_AF_OD;
  GPIO_InitStruct.Pull = GPIO_NOPULL;
  GPIO_InitStruct.Speed = GPIO_SPEED_FREQ_LOW;
  GPIO_InitStruct.Alternate = GPIO_AF4_I2C3;
  HAL_GPIO_Init(I2C3_SCL_GPIO_Port, &GPIO_InitStruct);

  /*Configure GPIO pins : STLINK_RX_Pin STLINK_TX_Pin */
  GPIO_InitStruct.Pin = STLINK_RX_Pin|STLINK_TX_Pin;
  GPIO_InitStruct.Mode = GPIO_MODE_AF_PP;
  GPIO_InitStruct.Pull = GPIO_NOPULL;
  GPIO_InitStruct.Speed = GPIO_SPEED_FREQ_VERY_HIGH;
  GPIO_InitStruct.Alternate = GPIO_AF7_USART1;
  HAL_GPIO_Init(GPIOA, &GPIO_InitStruct);

  /*Configure GPIO pins : G7_Pin B2_Pin */
  GPIO_InitStruct.Pin = G7_Pin|B2_Pin;
  GPIO_InitStruct.Mode = GPIO_MODE_AF_PP;
  GPIO_InitStruct.Pull = GPIO_NOPULL;
  GPIO_InitStruct.Speed = GPIO_SPEED_FREQ_LOW;
  GPIO_InitStruct.Alternate = GPIO_AF14_LTDC;
  HAL_GPIO_Init(GPIOD, &GPIO_InitStruct);

  /*Configure GPIO pins : G3_Pin B4_Pin */
  GPIO_InitStruct.Pin = G3_Pin|B4_Pin;
  GPIO_InitStruct.Mode = GPIO_MODE_AF_PP;
  GPIO_InitStruct.Pull = GPIO_NOPULL;
  GPIO_InitStruct.Speed = GPIO_SPEED_FREQ_LOW;
  GPIO_InitStruct.Alternate = GPIO_AF9_LTDC;
  HAL_GPIO_Init(GPIOG, &GPIO_InitStruct);

  /*Configure GPIO pins : GREEN_Pin LD4_Pin */
  GPIO_InitStruct.Pin = GREEN_Pin|LD4_Pin;
  GPIO_InitStruct.Mode = GPIO_MODE_OUTPUT_PP;
  GPIO_InitStruct.Pull = GPIO_NOPULL;
  GPIO_InitStruct.Speed = GPIO_SPEED_FREQ_LOW;
  HAL_GPIO_Init(GPIOG, &GPIO_InitStruct);

  /*Configure GPIO pins : SDCKE1_Pin SDNE1_Pin */
  GPIO_InitStruct.Pin = SDCKE1_Pin|SDNE1_Pin;
  GPIO_InitStruct.Mode = GPIO_MODE_AF_PP;
  GPIO_InitStruct.Pull = GPIO_NOPULL;
  GPIO_InitStruct.Speed = GPIO_SPEED_FREQ_VERY_HIGH;
  GPIO_InitStruct.Alternate = GPIO_AF12_FMC;
  HAL_GPIO_Init(GPIOB, &GPIO_InitStruct);

}

/* USER CODE BEGIN 4 */

void task1_fun(void* pt)
{
	//TickType_t lastWakeUpTime;
	uint32_t pulNotificationValue = 0;
	//lastWakeUpTime = xTaskGetTickCount();
	while(1)
	{
		//vTaskDelayUntil(&lastWakeUpTime,pdMS_TO_TICKS(500));
		 if( pdTRUE == xTaskNotifyWait( 0,0,&pulNotificationValue,portMAX_DELAY ) )
		 {
			 HAL_GPIO_TogglePin(GPIOG,GREEN_Pin);
		 }
		 else
		 {
			 while(0);
		 }
	}
}
void task2_fun(void* pt)
{
	while(1)
	{
		HAL_GPIO_TogglePin(GPIOG,LD4_Pin);
		vTaskDelay(pdMS_TO_TICKS(500));
	}
}

void initPA0_as_input(void)
{
	//Micro Controller specific initialization
	//SYSCFG->EXTICR[0] = 0; //pa0 input to exti0
	//EXTI->RTSR = 1;//rising edge trigger
	//EXTI->FTSR = 0;
	EXTI->IMR = 1;//enable exti0 interrupt

	//Processor specific initialization
	NVIC_SetPriority(EXTI0_IRQn,5);
	NVIC_EnableIRQ(EXTI0_IRQn);
	//NVIC_SetPendingIRQ(EXTI0_IRQn);
}

void EXTI0_IRQHandler(void)
{
	EXTI->PR = 1;
	vTaskNotifyGiveFromISR( tas1Handle,NULL );
}

/* USER CODE END 4 */

void HAL_TIM_PeriodElapsedCallback(TIM_HandleTypeDef *htim)
{
  if (htim->Instance == TIM6) {
    HAL_IncTick();
  }
}

void Error_Handler(void)
{
  __disable_irq();
  while (1)
  {
  }
}
